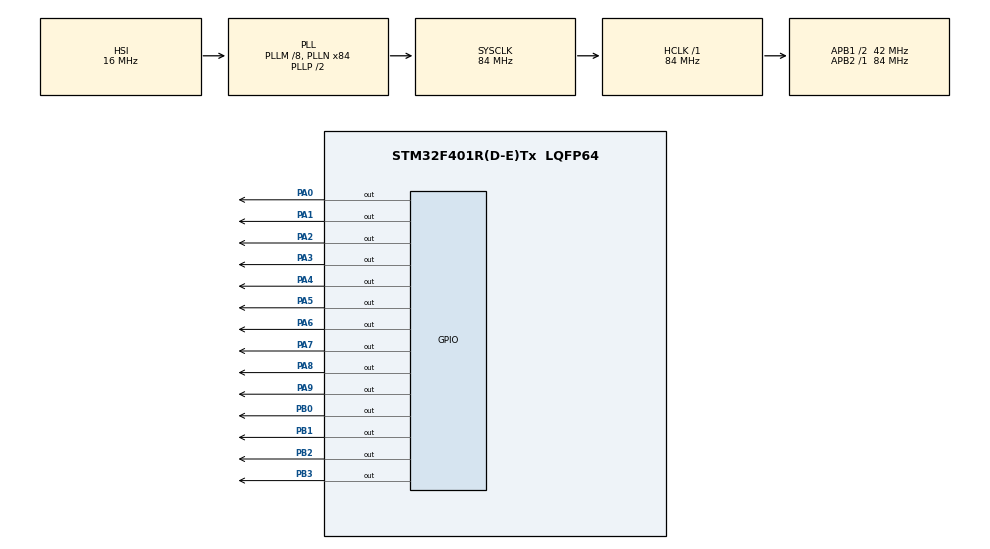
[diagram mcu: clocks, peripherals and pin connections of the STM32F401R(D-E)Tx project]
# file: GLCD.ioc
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Mcu.Family=STM32F4
RCC.CortexFreq_Value=84000000
RCC.APB1CLKDivider=RCC_HCLK_DIV2
RCC.SYSCLKSource=RCC_SYSCLKSOURCE_PLLCLK
ProjectManager.StackSize=0x400
PA0-WKUP.Signal=GPIO_Output
ProjectManager.TargetToolchain=MDK-ARM V5
RCC.HCLKFreq_Value=84000000
RCC.APB2TimFreq_Value=84000000
PA9.Signal=GPIO_Output
RCC.LSE_VALUE=32768
PA1.Signal=GPIO_Output
RCC.AHBFreq_Value=84000000
PA5.Signal=GPIO_Output
RCC.HSE_VALUE=25000000
PB2.Signal=GPIO_Output
board=custom
RCC.VCOOutputFreq_Value=168000000
RCC.APB2Freq_Value=84000000
PA8.Signal=GPIO_Output
Mcu.Name=STM32F401R(D-E)Tx
PA2.Signal=GPIO_Output
RCC.48MHZClocksFreq_Value=42000000
PB3.Signal=GPIO_Output
PA4.Signal=GPIO_Output
RCC.SYSCLKFreq_VALUE=84000000
Mcu.Package=LQFP64
PB1.Signal=GPIO_Output
PA6.Signal=GPIO_Output
ProjectManager.HeapSize=0x200
RCC.HSI_VALUE=16000000
NVIC.PriorityGroup=NVIC_PRIORITYGROUP_4
RCC.PLLM=8
RCC.PLLN=84
RCC.APB1TimFreq_Value=84000000
RCC.APB1Freq_Value=42000000
PB0.Signal=GPIO_Output
PA3.Signal=GPIO_Output
PA7.Signal=GPIO_Output

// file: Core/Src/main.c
/* USER CODE BEGIN Header */
/**
  ******************************************************************************
  * @file           : main.c
  * @brief          : Main program body
  ******************************************************************************
  * @attention
  *
  * <h2><center>&copy; Copyright (c) 2020 STMicroelectronics.
  * All rights reserved.</center></h2>
  *
  * This software component is licensed by ST under BSD 3-Clause license,
  * the "License"; You may not use this file except in compliance with the
  * License. You may obtain a copy of the License at:
  *                        opensource.org/licenses/BSD-3-Clause
  *
  ******************************************************************************
  */
/* USER CODE END Header */
#include "main.h"

/* USER CODE BEGIN Includes */
#include <string.h>
#include "FONT.h"
/* USER CODE END Includes */

/* USER CODE BEGIN PD */
#define LCD_DATA_PIN 8

#define GLCD_WIDTH 64
#define GLCD_HEIGHT 128
#define GLCD_DISPLAY_ON 0x3f
#define GLCD_DISPLAY_OFF 0x3e
#define GLCD_CMD_SET_X 0x40
#define GLCD_CMD_SET_LINE_NUMBER 0xB8
#define GLCD_CMD_START 0xC0
/* USER CODE END PD */

/* USER CODE BEGIN PV */
struct GlcdDataStruct
{
  unsigned int rs;
  unsigned int rw;
  unsigned int e;
  unsigned int dataPins[LCD_DATA_PIN];
  unsigned int cs1;
  unsigned int cs2;
  unsigned int res;
};

struct GlcdDataStruct GlcdData;

unsigned char pixelValue_c1[8][64];
unsigned char pixelValue_c2[8][64];
unsigned char currPage;
unsigned char currPixel;
int currSel = 1;

/* USER CODE END PV */

void SystemClock_Config(void);
static void MX_GPIO_Init(void);
/* USER CODE BEGIN PFP */
int GlcdInit(const int rows, const int cols, const int rw, const int res,
             const int e, const int di, const int CS1, const int CS2,
             const int d0, const int d1, const int d2, const int d3,
             const int d4, const int d5, const int d6, const int d7);
void set_x_address(int, unsigned char);
void set_line_no(int, unsigned char);
void update(void);
void cls(void);
void clearPixel(int select, unsigned char page, unsigned char pixel);
void scrollUp(void);
void setGrCursor(int select, unsigned char page, unsigned char pixel);
int glcdPutchar(int select, const char c);
void glcdPuts(int select, const char *string);
void glcdWrite(int select, unsigned char data, int rs);

/* USER CODE END PFP */

int main(void)
{

  /* MCU Configuration--------------------------------------------------------*/

  /* Reset of all peripherals, Initializes the Flash interface and the Systick. */
  HAL_Init();

  /* Configure the system clock */
  SystemClock_Config();

  /* Initialize all configured peripherals */
  MX_GPIO_Init();
  /* USER CODE BEGIN 2 */
  GlcdInit(0, 0, GPIO_PIN_8, GPIO_PIN_1, GPIO_PIN_0, GPIO_PIN_9, GPIO_PIN_2, GPIO_PIN_3, GPIO_PIN_0, GPIO_PIN_1, GPIO_PIN_2, GPIO_PIN_3, GPIO_PIN_4, GPIO_PIN_5, GPIO_PIN_6, GPIO_PIN_7);
  /* USER CODE END 2 */

  /* Infinite loop */
  /* USER CODE BEGIN WHILE */
  setGrCursor(1, 1, 0);
  glcdPuts(1, "Niki Nazaran 95243067 & Parsa Hejabi 95243019 & Alireza Mahdi Barzi 96243087");
  HAL_Delay(500);
  scrollUp();

  for (int i = 0; i < 6; i++)
  {
    clearPixel(1, 0, i);
  }
  while (1)
  {
    /* USER CODE END WHILE */
  }
}

void SystemClock_Config(void)
{
  RCC_OscInitTypeDef RCC_OscInitStruct = {0};
  RCC_ClkInitTypeDef RCC_ClkInitStruct = {0};

  /** Configure the main internal regulator output voltage
  */
  __HAL_RCC_PWR_CLK_ENABLE();
  __HAL_PWR_VOLTAGESCALING_CONFIG(PWR_REGULATOR_VOLTAGE_SCALE2);
  /** Initializes the RCC Oscillators according to the specified parameters
  * in the RCC_OscInitTypeDef structure.
  */
  RCC_OscInitStruct.OscillatorType = RCC_OSCILLATORTYPE_HSI;
  RCC_OscInitStruct.HSIState = RCC_HSI_ON;
  RCC_OscInitStruct.HSICalibrationValue = RCC_HSICALIBRATION_DEFAULT;
  RCC_OscInitStruct.PLL.PLLState = RCC_PLL_ON;
  RCC_OscInitStruct.PLL.PLLSource = RCC_PLLSOURCE_HSI;
  RCC_OscInitStruct.PLL.PLLM = 8;
  RCC_OscInitStruct.PLL.PLLN = 84;
  RCC_OscInitStruct.PLL.PLLP = RCC_PLLP_DIV2;
  RCC_OscInitStruct.PLL.PLLQ = 4;
  if (HAL_RCC_OscConfig(&RCC_OscInitStruct) != HAL_OK)
  {
    Error_Handler();
  }
  /** Initializes the CPU, AHB and APB buses clocks
  */
  RCC_ClkInitStruct.ClockType = RCC_CLOCKTYPE_HCLK | RCC_CLOCKTYPE_SYSCLK | RCC_CLOCKTYPE_PCLK1 | RCC_CLOCKTYPE_PCLK2;
  RCC_ClkInitStruct.SYSCLKSource = RCC_SYSCLKSOURCE_PLLCLK;
  RCC_ClkInitStruct.AHBCLKDivider = RCC_SYSCLK_DIV1;
  RCC_ClkInitStruct.APB1CLKDivider = RCC_HCLK_DIV2;
  RCC_ClkInitStruct.APB2CLKDivider = RCC_HCLK_DIV1;

  if (HAL_RCC_ClockConfig(&RCC_ClkInitStruct, FLASH_LATENCY_2) != HAL_OK)
  {
    Error_Handler();
  }
}

static void MX_GPIO_Init(void)
{
  GPIO_InitTypeDef GPIO_InitStruct = {0};

  /* GPIO Ports Clock Enable */
  __HAL_RCC_GPIOA_CLK_ENABLE();
  __HAL_RCC_GPIOB_CLK_ENABLE();

  /*Configure GPIO pin Output Level */
  HAL_GPIO_WritePin(GPIOA, GPIO_PIN_0 | GPIO_PIN_1 | GPIO_PIN_2 | GPIO_PIN_3 | GPIO_PIN_4 | GPIO_PIN_5 | GPIO_PIN_6 | GPIO_PIN_7 | GPIO_PIN_8 | GPIO_PIN_9, GPIO_PIN_RESET);

  /*Configure GPIO pin Output Level */
  HAL_GPIO_WritePin(GPIOB, GPIO_PIN_0 | GPIO_PIN_1 | GPIO_PIN_2 | GPIO_PIN_3, GPIO_PIN_RESET);

  /*Configure GPIO pins : PA0 PA1 PA2 PA3
                           PA4 PA5 PA6 PA7
                           PA8 PA9 */
  GPIO_InitStruct.Pin = GPIO_PIN_0 | GPIO_PIN_1 | GPIO_PIN_2 | GPIO_PIN_3 | GPIO_PIN_4 | GPIO_PIN_5 | GPIO_PIN_6 | GPIO_PIN_7 | GPIO_PIN_8 | GPIO_PIN_9;
  GPIO_InitStruct.Mode = GPIO_MODE_OUTPUT_PP;
  GPIO_InitStruct.Pull = GPIO_NOPULL;
  GPIO_InitStruct.Speed = GPIO_SPEED_FREQ_LOW;
  HAL_GPIO_Init(GPIOA, &GPIO_InitStruct);

  /*Configure GPIO pins : PB0 PB1 PB2 PB3 */
  GPIO_InitStruct.Pin = GPIO_PIN_0 | GPIO_PIN_1 | GPIO_PIN_2 | GPIO_PIN_3;
  GPIO_InitStruct.Mode = GPIO_MODE_OUTPUT_PP;
  GPIO_InitStruct.Pull = GPIO_NOPULL;
  GPIO_InitStruct.Speed = GPIO_SPEED_FREQ_LOW;
  HAL_GPIO_Init(GPIOB, &GPIO_InitStruct);
}

/* USER CODE BEGIN 4 */
int GlcdInit(const int rows, const int cols, const int rw, const int res,
             const int e, const int di, const int CS1, const int CS2,
             const int d0, const int d1, const int d2, const int d3,
             const int d4, const int d5, const int d6, const int d7)
{
  int i;

  if ((rows < 0) || (rows > 63))
    return -1;

  if ((cols < 0) || (cols > 127))
    return -1;

  GlcdData.rw = rw;
  GlcdData.rs = di;
  GlcdData.res = res;
  GlcdData.e = e;
  GlcdData.cs1 = CS1;
  GlcdData.cs2 = CS2;

  GlcdData.dataPins[0] = d0;
  GlcdData.dataPins[1] = d1;
  GlcdData.dataPins[2] = d2;
  GlcdData.dataPins[3] = d3;
  GlcdData.dataPins[4] = d4;
  GlcdData.dataPins[5] = d5;
  GlcdData.dataPins[6] = d6;
  GlcdData.dataPins[7] = d7;

  for (i = 0; i < 8; i++)
  {
    HAL_GPIO_WritePin(GPIOA, GlcdData.dataPins[i], GPIO_PIN_RESET);
  }

  HAL_GPIO_WritePin(GPIOA, GlcdData.rs, GPIO_PIN_RESET);
  HAL_GPIO_WritePin(GPIOA, GlcdData.rw, GPIO_PIN_RESET);
  HAL_GPIO_WritePin(GPIOB, GlcdData.res, GPIO_PIN_RESET);
  HAL_GPIO_WritePin(GPIOB, GlcdData.e, GPIO_PIN_RESET);
  HAL_GPIO_WritePin(GPIOB, GlcdData.cs1, GPIO_PIN_RESET);
  HAL_GPIO_WritePin(GPIOB, GlcdData.cs2, GPIO_PIN_RESET);
  HAL_GPIO_WritePin(GPIOB, GlcdData.res, GPIO_PIN_SET);
  HAL_Delay(50);

  glcdWrite(0, GLCD_CMD_START, 0);
  glcdWrite(1, GLCD_CMD_START, 0);
  glcdWrite(0, GLCD_DISPLAY_ON, 0);
  glcdWrite(1, GLCD_DISPLAY_ON, 0);

  cls();

  return 1;
}

void set_x_address(int select, unsigned char pixel)
{
  unsigned char command = GLCD_CMD_SET_X + pixel;
  glcdWrite(select, command, 0);
  currPixel = pixel;
}

void set_line_no(int select, unsigned char page)
{
  unsigned char command = GLCD_CMD_SET_LINE_NUMBER + page;
  glcdWrite(select, command, 0);
  currPage = page;
}

void update()
{
  unsigned char x, y;

  for (y = 0; y < 8; y++)
  {
    set_line_no(0, y);
    set_line_no(1, y);
    set_x_address(0, 0);
    set_x_address(1, 0);
    for (x = 0; x < 64; x++)
    {
      glcdWrite(0, pixelValue_c1[y][x], 1);
      glcdWrite(1, pixelValue_c2[y][x], 1);
    }
  }

  return;
}

void cls(void)
{
  unsigned char x, y;

  for (y = 0; y < 8; y++)
  {
    set_line_no(0, y);
    set_line_no(1, y);
    set_x_address(0, 0);
    set_x_address(1, 0);
    for (x = 0; x < 64; x++)
    {
      glcdWrite(0, 0, 1);
      glcdWrite(1, 0, 1);
    }
  }

  return;
}

void clearPixel(int select, unsigned char page, unsigned char pixel)
{
  setGrCursor(select, page, pixel);
  glcdWrite(select, 0, 1);
  return;
}

void scrollUp(void)
{
  int i, j;
  for (i = 1; i < 8; i++)
  {
    for (j = 0; j < 64; j++)
    {
      pixelValue_c1[i - 1][j] = pixelValue_c1[i][j];
      pixelValue_c2[i - 1][j] = pixelValue_c2[i][j];
    }
  }
  for (i = 0; i < 64; i++)
  {
    pixelValue_c1[7][i] = 0x00;
    pixelValue_c2[7][i] = 0x00;
  }

  update();
  return;
}

void setGrCursor(int select, unsigned char page, unsigned char pixel)
{
  set_line_no(select, page);
  set_x_address(select, pixel);
  return;
}

int glcdPutchar(int select, const char c)
{
  int index = (c - 32) * 5, i;
  for (i = 0; i < 5; i++)
  {
    glcdWrite(currSel, font[index + i], 1);
    if (currSel == 0)
      pixelValue_c1[currPage][currPixel] = font[index + i];
    else
      pixelValue_c2[currPage][currPixel] = font[index + i];

    currPixel++;
    if (currPixel == 64)
    {
      currPixel = 0;
      if (currSel == 1)
        currSel = 0;

      else
      {
        currSel = 1;
        currPage++;
      }
      setGrCursor(currSel, currPage, currPixel);
    }
  }
  HAL_Delay(1);
  return 0;
}

void glcdPuts(int select, const char *string)
{
  int i = 0;
  currSel = select;
  for (i = 0; i < strlen(string); i++)
  {
    glcdPutchar(currSel, string[i]);
  }
  return;
}

void glcdWrite(int select, unsigned char data, int rs)
{
  int i;
  HAL_GPIO_WritePin(GPIOB, GlcdData.e, GPIO_PIN_SET);
  HAL_GPIO_WritePin(GPIOB, GlcdData.e, GPIO_PIN_RESET);

  if (select == 0)
  {
    HAL_GPIO_WritePin(GPIOB, GlcdData.cs1, GPIO_PIN_RESET);
    HAL_GPIO_WritePin(GPIOB, GlcdData.cs2, GPIO_PIN_SET);
  }
  else
  {
    HAL_GPIO_WritePin(GPIOB, GlcdData.cs2, GPIO_PIN_RESET);
    HAL_GPIO_WritePin(GPIOB, GlcdData.cs1, GPIO_PIN_SET);
  }

  HAL_GPIO_WritePin(GPIOA, GlcdData.rw, GPIO_PIN_RESET);

  if (rs == 1)
    HAL_GPIO_WritePin(GPIOA, GlcdData.rs, GPIO_PIN_SET);
  else
    HAL_GPIO_WritePin(GPIOA, GlcdData.rs, GPIO_PIN_RESET);

  HAL_GPIO_WritePin(GPIOB, GlcdData.e, GPIO_PIN_SET);

  for (i = 0; i < 8; i++)
  {
    HAL_GPIO_WritePin(GPIOA, GlcdData.dataPins[i], data & 0x01);
    data = data >> 1;
  }

  HAL_Delay(1);
  HAL_GPIO_WritePin(GPIOB, GlcdData.e, GPIO_PIN_RESET);
  HAL_GPIO_WritePin(GPIOA, GlcdData.rw, GPIO_PIN_SET);

  return;
}
/* USER CODE END 4 */

void Error_Handler(void)
{
}

/************************ (C) COPYRIGHT STMicroelectronics *****END OF FILE****/
